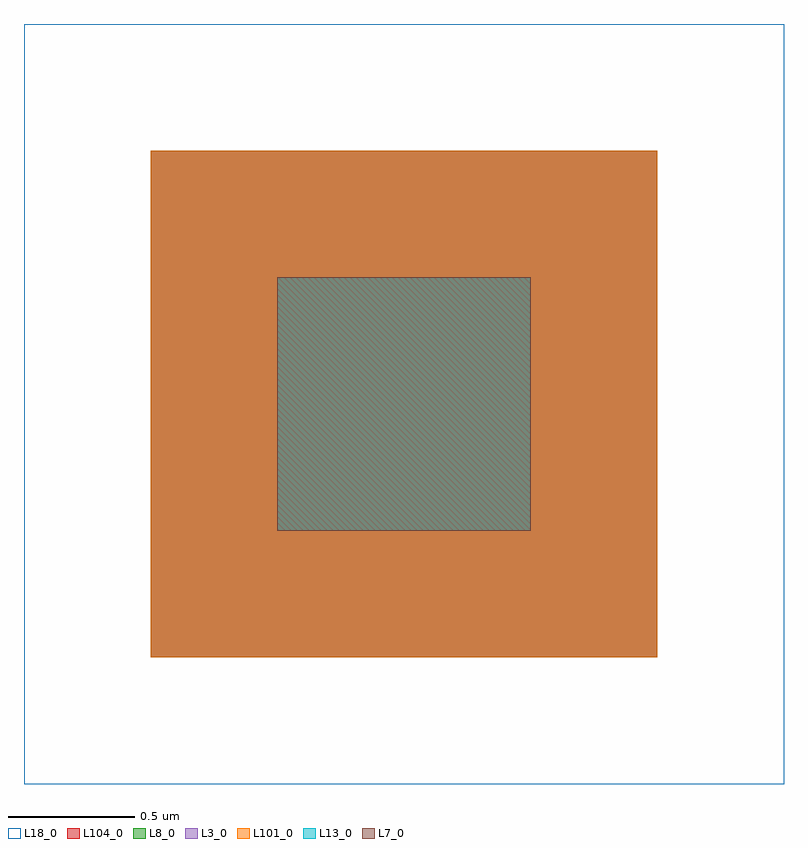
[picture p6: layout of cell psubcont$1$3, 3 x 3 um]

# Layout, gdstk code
import gdstk
lib = gdstk.Library(unit=1e-6, precision=1e-07)
def R(c, l, rs):  # rectangles x0, y0, x1, y1
    for r in rs: c.add(gdstk.rectangle(r[:2], r[2:], *l))
L3_0 = (3, 0)
L7_0 = (7, 0)
L8_0 = (8, 0)
L13_0 = (13, 0)
L18_0 = (18, 0)
L101_0 = (101, 0)
L104_0 = (104, 0)

dcont1_1_2 = lib.new_cell('dcont1$1$2')
R(dcont1_1_2, L3_0, [(-1,-1,1,1)])
R(dcont1_1_2, L7_0, [(-0.5,-0.5,0.5,0.5)])
R(dcont1_1_2, L8_0, [(-1,-1,1,1)])
R(dcont1_1_2, L13_0, [(-0.5,-0.5,0.5,0.5)])
R(dcont1_1_2, L101_0, [(-1,-1,1,1)])

psubcont_1_3 = lib.new_cell('psubcont$1$3')
R(psubcont_1_3, L18_0, [(-1.5,-1.5,1.5,1.5)])
R(psubcont_1_3, L104_0, [(-1,-1,1,1)])
psubcont_1_3.add(gdstk.Reference(dcont1_1_2, (0,0)))

lib.write_gds('psubcont_1_3.gds')
